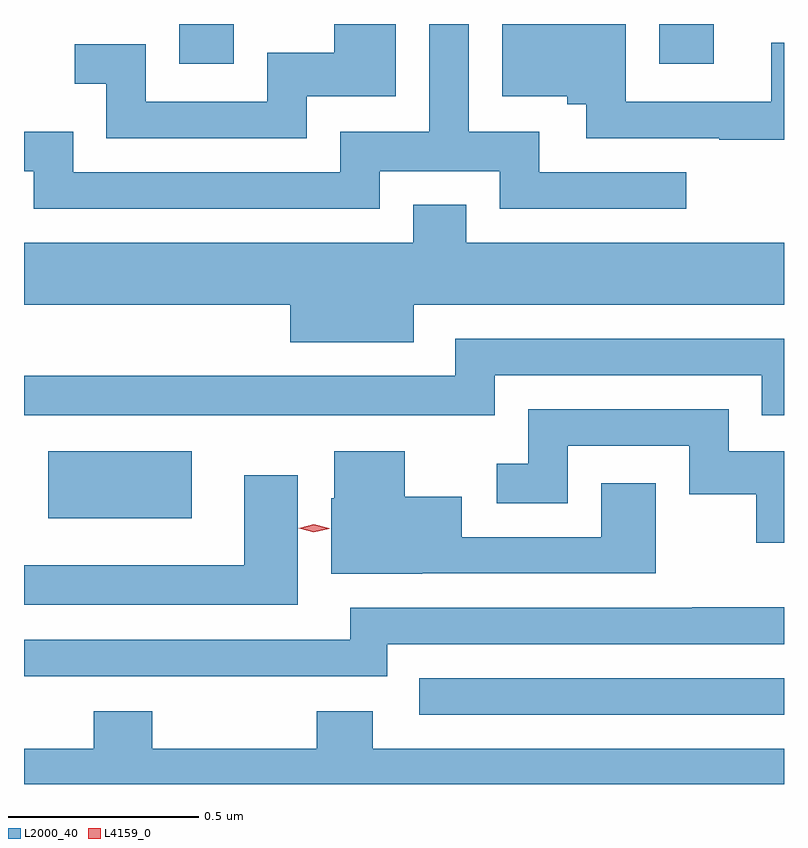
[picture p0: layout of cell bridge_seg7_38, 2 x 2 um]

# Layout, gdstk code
import gdstk
lib = gdstk.Library(unit=1e-6, precision=1e-09)
def R(c, l, rs):  # rectangles x0, y0, x1, y1
    for r in rs: c.add(gdstk.rectangle(r[:2], r[2:], *l))
def P(c, l, *ps):  # polygons
    for p in ps: c.add(gdstk.Polygon(p, *l))
L2000_40 = (2000, 40)
L4159_0 = (4159, 0)

bridge_seg7_38 = lib.new_cell('bridge_seg7_38')
R(bridge_seg7_38, L2000_40, [(996.942,1060.809,997.902,1060.905), (995.966,1061.327,996.343,1061.503), (996.311,1062.522,996.454,1062.627), (997.574,1062.522,997.717,1062.627)])
P(bridge_seg7_38, L2000_40, [(997.902,1062.578),(997.868,1062.578),(997.868,1062.423),(997.486,1062.423),(997.486,1062.627),(997.16,1062.627),(997.16,1062.437),(997.332,1062.437),(997.332,1062.416),(997.382,1062.416),(997.382,1062.327),(997.732,1062.327),(997.732,1062.322),(997.902,1062.322)],
  [(996.838,1062.239),(997.154,1062.239),(997.154,1062.141),(997.645,1062.141),(997.645,1062.237),(997.258,1062.237),(997.258,1062.343),(997.072,1062.343),(997.072,1062.627),(996.968,1062.627),(996.968,1062.343),(996.734,1062.343),(996.734,1062.237),(996.031,1062.237),(996.031,1062.343),(995.902,1062.343),(995.902,1062.239),(995.927,1062.239),(995.927,1062.141),(996.838,1062.141)],
  [(996.646,1062.437),(996.88,1062.437),(996.88,1062.627),(996.719,1062.627),(996.719,1062.551),(996.542,1062.551),(996.542,1062.423),(996.223,1062.423),(996.223,1062.574),(996.036,1062.574),(996.036,1062.47),(996.119,1062.47),(996.119,1062.327),(996.646,1062.327)],
  [(996.928,1061.888),(997.902,1061.888),(997.902,1062.052),(997.066,1062.052),(997.066,1062.151),(996.926,1062.151),(996.926,1062.052),(995.902,1062.052),(995.902,1061.888),(996.602,1061.888),(996.602,1061.789),(996.928,1061.789)],
  [(997.141,1061.703),(997.844,1061.703),(997.844,1061.597),(997.902,1061.597),(997.902,1061.799),(997.037,1061.799),(997.037,1061.701),(995.902,1061.701),(995.902,1061.597),(997.141,1061.597)],
  [(997.902,1061.503),(997.756,1061.503),(997.756,1061.613),(997.229,1061.613),(997.229,1061.47),(997.146,1061.47),(997.146,1061.366),(997.333,1061.366),(997.333,1061.517),(997.652,1061.517),(997.652,1061.389),(997.829,1061.389),(997.829,1061.262),(997.902,1061.262)],
  [(996.95,1061.181),(997.564,1061.181),(997.564,1061.419),(997.421,1061.419),(997.421,1061.277),(997.054,1061.277),(997.054,1061.383),(996.904,1061.383),(996.904,1061.503),(996.719,1061.503),(996.719,1061.379),(996.71,1061.379),(996.71,1061.18),(996.95,1061.18)],
  [(996.622,1061.44),(996.482,1061.44),(996.482,1061.203),(995.902,1061.203),(995.902,1061.099),(996.622,1061.099)],
  [(995.996,1060.911),(996.328,1060.911),(996.328,1060.91),(996.584,1060.91),(996.584,1060.911),(996.858,1060.911),(996.858,1060.995),(997.902,1060.995),(997.902,1061.092),(997.66,1061.092),(997.66,1061.091),(996.761,1061.091),(996.761,1061.007),(995.902,1061.007),(995.902,1060.91),(995.996,1060.91)],
  [(997.902,1060.72),(996.82,1060.72),(996.82,1060.819),(996.673,1060.819),(996.673,1060.72),(996.24,1060.72),(996.24,1060.819),(996.085,1060.819),(996.085,1060.72),(995.902,1060.72),(995.902,1060.627),(997.902,1060.627)])
P(bridge_seg7_38, L4159_0, [(996.665,1061.29),(996.625,1061.3),(996.624,1061.3),(996.625,1061.3),(996.665,1061.31),(996.705,1061.3),(996.705,1061.3),(996.705,1061.299)])

lib.write_gds('bridge_seg7_38.gds')
